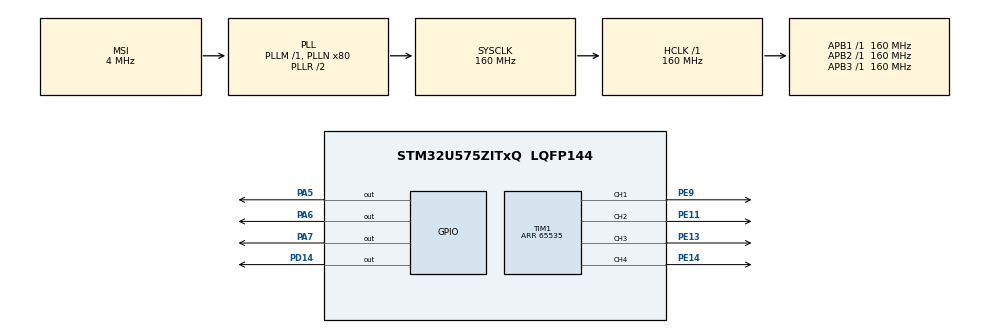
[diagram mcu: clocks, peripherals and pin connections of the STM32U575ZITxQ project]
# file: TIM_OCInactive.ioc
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CORTEX_M33_NS.userName=CORTEX_M33
Mcu.Family=STM32U5
Mcu.Name=STM32U575ZITxQ
Mcu.Package=LQFP144
NVIC.PriorityGroup=NVIC_PRIORITYGROUP_4
NVIC.TIM1_CC_IRQn=true\:0\:0\:false\:false\:true\:true\:true\:true
PA5.GPIO_PuPd=GPIO_NOPULL
PA5.GPIO_Speed=GPIO_SPEED_FREQ_HIGH
PA5.Signal=GPIO_Output
PA6.GPIO_PuPd=GPIO_NOPULL
PA6.GPIO_Speed=GPIO_SPEED_FREQ_HIGH
PA6.Signal=GPIO_Output
PA7.GPIO_PuPd=GPIO_NOPULL
PA7.GPIO_Speed=GPIO_SPEED_FREQ_HIGH
PA7.Signal=GPIO_Output
PD14.GPIO_PuPd=GPIO_NOPULL
PD14.GPIO_Speed=GPIO_SPEED_FREQ_HIGH
PD14.Signal=GPIO_Output
PE11.GPIO_PuPd=GPIO_NOPULL
PE11.GPIO_Speed=GPIO_SPEED_FREQ_VERY_HIGH
PE11.Signal=S_TIM1_CH2
PE13.GPIO_PuPd=GPIO_NOPULL
PE13.GPIO_Speed=GPIO_SPEED_FREQ_VERY_HIGH
PE13.Signal=S_TIM1_CH3
PE14.GPIO_PuPd=GPIO_NOPULL
PE14.GPIO_Speed=GPIO_SPEED_FREQ_VERY_HIGH
PE14.Signal=S_TIM1_CH4
PE9.GPIO_PuPd=GPIO_NOPULL
PE9.GPIO_Speed=GPIO_SPEED_FREQ_VERY_HIGH
PE9.Signal=S_TIM1_CH1
PWR.PowerMode=PWR_SMPS_SUPPLY
ProjectManager.HeapSize=0x200
ProjectManager.StackSize=0x400
ProjectManager.TargetToolchain=EWARM V8.32
RCC.ADCFreq_Value=16000000
RCC.AHBFreq_Value=160000000
RCC.APB1Freq_Value=160000000
RCC.APB1TimFreq_Value=160000000
RCC.APB2Freq_Value=160000000
RCC.APB2TimFreq_Value=160000000
RCC.APB3Freq_Value=160000000
RCC.CortexFreq_Value=160000000
RCC.DACCLockSelectionVirtual=RCC_DAC1CLKSOURCE_LSI
RCC.DACCLockSelectionVirtualString=RCC_DAC1CLKSOURCE_LSI
RCC.EPOD_VALUE=4000000
RCC.HCLKFreq_Value=160000000
RCC.HSE_VALUE=16000000
RCC.HSI48_VALUE=48000000
RCC.HSI_VALUE=16000000
RCC.LSE_VALUE=32768
RCC.LSIDIV_VALUE=32000
RCC.MSI_VALUE=4000000
RCC.PLLN=80
RCC.SYSCLKFreq_VALUE=160000000
RCC.SYSCLKSource=RCC_SYSCLKSOURCE_PLLCLK
RCC.USBFreq_Value=48000000
RCC.VCOOutputFreq_Value=320000000
SH.S_TIM1_CH1.0=TIM1_CH1,Output Compare1 CH1
SH.S_TIM1_CH2.0=TIM1_CH2,Output Compare2 CH2
SH.S_TIM1_CH3.0=TIM1_CH3,Output Compare3 CH3
SH.S_TIM1_CH4.0=TIM1_CH4,Output Compare4 CH4
TIM1.AutoReloadPreload=TIM_AUTORELOAD_PRELOAD_DISABLE
TIM1.AutomaticOutput=TIM_AUTOMATICOUTPUT_DISABLE
TIM1.Break2Filter=0
TIM1.Break2Polarity=TIM_BREAK2POLARITY_HIGH
TIM1.Break2State=TIM_BREAK2_DISABLE
TIM1.BreakFilter=0
TIM1.BreakPolarity=TIM_BREAKPOLARITY_HIGH
TIM1.BreakState=TIM_BREAK_DISABLE
TIM1.Channel-Output\ Compare1\ CH1=TIM_CHANNEL_1
TIM1.Channel-Output\ Compare2\ CH2=TIM_CHANNEL_2
TIM1.Channel-Output\ Compare3\ CH3=TIM_CHANNEL_3
TIM1.Channel-Output\ Compare4\ CH4=TIM_CHANNEL_4
TIM1.ClearInputSource=TIM_CLEARINPUTSOURCE_NONE
TIM1.ClockDivision=TIM_CLOCKDIVISION_DIV1
TIM1.CounterMode=TIM_COUNTERMODE_UP
TIM1.LockLevel=TIM_LOCKLEVEL_OFF
TIM1.OC1Preload=DISABLE
TIM1.OC2Preload=DISABLE
TIM1.OC3Preload=DISABLE
TIM1.OC4Preload=DISABLE
TIM1.OCIdleState_1=TIM_OCIDLESTATE_RESET
TIM1.OCIdleState_2=TIM_OCIDLESTATE_RESET
TIM1.OCIdleState_3=TIM_OCIDLESTATE_RESET
TIM1.OCIdleState_4=TIM_OCIDLESTATE_RESET
TIM1.OCMode_1=TIM_OCMODE_INACTIVE
TIM1.OCMode_2=TIM_OCMODE_INACTIVE
TIM1.OCMode_3=TIM_OCMODE_INACTIVE
TIM1.OCMode_4=TIM_OCMODE_INACTIVE
TIM1.OCPolarity_1=TIM_OCPOLARITY_HIGH
TIM1.OCPolarity_2=TIM_OCPOLARITY_HIGH
TIM1.OCPolarity_3=TIM_OCPOLARITY_HIGH
TIM1.OCPolarity_4=TIM_OCPOLARITY_HIGH
TIM1.OffStateIDLEMode=TIM_OSSI_DISABLE
TIM1.OffStateRunMode=TIM_OSSR_DISABLE
TIM1.Period=65535
TIM1.Prescaler=PRESCALER_VALUE
TIM1.PulseNoDither_1=PULSE1_VALUE
TIM1.PulseNoDither_2=PULSE2_VALUE
TIM1.PulseNoDither_3=PULSE3_VALUE
TIM1.PulseNoDither_4=PULSE4_VALUE
TIM1.RepetitionCounter=0
TIM1.SourceBRK2COMP1=TIM_BREAKINPUTSOURCE_DISABLE
TIM1.SourceBRK2COMP2=TIM_BREAKINPUTSOURCE_DISABLE
TIM1.SourceBRK2DigInput=TIM_BREAKINPUTSOURCE_DISABLE
TIM1.SourceBRKCOMP1=TIM_BREAKINPUTSOURCE_DISABLE
TIM1.SourceBRKCOMP2=TIM_BREAKINPUTSOURCE_DISABLE
TIM1.SourceBRKDigInput=TIM_BREAKINPUTSOURCE_DISABLE
TIM1.TIM_MasterOutputTrigger=TIM_TRGO_RESET
TIM1.TIM_MasterOutputTrigger2=TIM_TRGO2_RESET
TIM1.TIM_MasterSlaveMode=TIM_MASTERSLAVEMODE_DISABLE
VP_ICACHE_VS_ICACHE.Mode=DirectMappedCache
VP_LPBAMQUEUE_VS_QUEUE.Mode=QUEUEMODE
VP_LPBAM_VS_SIG1.Mode=SmartRun
VP_LPBAM_VS_SIG4.Mode=LPDMA1
VP_PWR_VS_DBSignals.Mode=DisableDeadBatterySignals
VP_PWR_VS_LPOM.Mode=PowerOptimisation
VP_PWR_VS_SECSignals.Mode=Security/Privilege
board=custom

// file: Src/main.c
/* USER CODE BEGIN Header */
/**
  ******************************************************************************
  * @file    TIM/TIM_OCInactive/Src/main.c
  * @author  MCD Application Team
  * @brief   This example shows how to configure the Timer to generate four
  *          delayed signals.
  ******************************************************************************
  * @attention
  *
  * Copyright (c) 2021 STMicroelectronics.
  * All rights reserved.
  *
  * This software is licensed under terms that can be found in the LICENSE file
  * in the root directory of this software component.
  * If no LICENSE file comes with this software, it is provided AS-IS.
  *
  ******************************************************************************
  */
/* USER CODE END Header */
#include "main.h"

TIM_HandleTypeDef htim1;

void SystemClock_Config(void);
static void SystemPower_Config(void);
static void MX_GPIO_Init(void);
static void MX_ICACHE_Init(void);
static void MX_TIM1_Init(void);

int main(void)
{

  /* USER CODE BEGIN 1 */
  /* STM32U5xx HAL library initialization:
       - Configure the Flash prefetch
       - Configure the Systick to generate an interrupt each 1 msec
       - Set NVIC Group Priority to 3
       - Low Level Initialization
     */
  /* USER CODE END 1 */

  /* MCU Configuration--------------------------------------------------------*/

  /* Reset of all peripherals, Initializes the Flash interface and the Systick. */
  HAL_Init();

  /* Configure the System Power */
  SystemPower_Config();

  /* Configure the system clock */
  SystemClock_Config();

  /* Initialize all configured peripherals */
  MX_GPIO_Init();
  MX_ICACHE_Init();
  MX_TIM1_Init();
  /* USER CODE BEGIN 2 */
  /*## Set GPIO Pins PA5, PA6, PA7 and PD14 as reference ###################*/
  HAL_GPIO_WritePin(GPIOA, GPIO_PIN_5, GPIO_PIN_SET);
  HAL_GPIO_WritePin(GPIOA, GPIO_PIN_6, GPIO_PIN_SET);
  HAL_GPIO_WritePin(GPIOA, GPIO_PIN_7, GPIO_PIN_SET);
  HAL_GPIO_WritePin(GPIOD, GPIO_PIN_14, GPIO_PIN_SET);

  /*## Start signals generation #######################################*/
  /* Start channel 1 in Output compare mode */
  if(HAL_TIM_OC_Start_IT(&htim1, TIM_CHANNEL_1) != HAL_OK)
  {
    /* Starting Error */
    Error_Handler();
  }
  /* Start channel 2 in Output compare mode */
  if(HAL_TIM_OC_Start_IT(&htim1, TIM_CHANNEL_2) != HAL_OK)
  {
    /* Starting Error */
    Error_Handler();
  }
  /* Start channel 3 in Output compare mode */
  if(HAL_TIM_OC_Start_IT(&htim1, TIM_CHANNEL_3) != HAL_OK)
  {
    /* Starting Error */
    Error_Handler();
  }
  /* Start channel 4 in Output compare mode */
  if(HAL_TIM_OC_Start_IT(&htim1, TIM_CHANNEL_4) != HAL_OK)
  {
    /* Starting Error */
    Error_Handler();
  }

  /* USER CODE END 2 */

  /* Infinite loop */
  while (1)
  {

  }
}

void SystemClock_Config(void)
{
  RCC_OscInitTypeDef RCC_OscInitStruct = {0};
  RCC_ClkInitTypeDef RCC_ClkInitStruct = {0};

  /** Configure the main internal regulator output voltage
  */
  if (HAL_PWREx_ControlVoltageScaling(PWR_REGULATOR_VOLTAGE_SCALE1) != HAL_OK)
  {
    Error_Handler();
  }

  /** Initializes the CPU, AHB and APB buses clocks
  */
  RCC_OscInitStruct.OscillatorType = RCC_OSCILLATORTYPE_MSI;
  RCC_OscInitStruct.MSIState = RCC_MSI_ON;
  RCC_OscInitStruct.MSICalibrationValue = RCC_MSICALIBRATION_DEFAULT;
  RCC_OscInitStruct.MSIClockRange = RCC_MSIRANGE_4;
  RCC_OscInitStruct.PLL.PLLState = RCC_PLL_ON;
  RCC_OscInitStruct.PLL.PLLSource = RCC_PLLSOURCE_MSI;
  RCC_OscInitStruct.PLL.PLLMBOOST = RCC_PLLMBOOST_DIV1;
  RCC_OscInitStruct.PLL.PLLM = 1;
  RCC_OscInitStruct.PLL.PLLN = 80;
  RCC_OscInitStruct.PLL.PLLP = 2;
  RCC_OscInitStruct.PLL.PLLQ = 2;
  RCC_OscInitStruct.PLL.PLLR = 2;
  RCC_OscInitStruct.PLL.PLLRGE = RCC_PLLVCIRANGE_0;
  RCC_OscInitStruct.PLL.PLLFRACN = 0;
  if (HAL_RCC_OscConfig(&RCC_OscInitStruct) != HAL_OK)
  {
    Error_Handler();
  }

  /** Initializes the CPU, AHB and APB buses clocks
  */
  RCC_ClkInitStruct.ClockType = RCC_CLOCKTYPE_HCLK|RCC_CLOCKTYPE_SYSCLK
                              |RCC_CLOCKTYPE_PCLK1|RCC_CLOCKTYPE_PCLK2
                              |RCC_CLOCKTYPE_PCLK3;
  RCC_ClkInitStruct.SYSCLKSource = RCC_SYSCLKSOURCE_PLLCLK;
  RCC_ClkInitStruct.AHBCLKDivider = RCC_SYSCLK_DIV1;
  RCC_ClkInitStruct.APB1CLKDivider = RCC_HCLK_DIV1;
  RCC_ClkInitStruct.APB2CLKDivider = RCC_HCLK_DIV1;
  RCC_ClkInitStruct.APB3CLKDivider = RCC_HCLK_DIV1;

  if (HAL_RCC_ClockConfig(&RCC_ClkInitStruct, FLASH_LATENCY_4) != HAL_OK)
  {
    Error_Handler();
  }
}

/**
  * @brief Power Configuration
  * @retval None
  */
static void SystemPower_Config(void)
{

  /*
   * Disable the internal Pull-Up in Dead Battery pins of UCPD peripheral
   */
  HAL_PWREx_DisableUCPDDeadBattery();

  /*
   * Switch to SMPS regulator instead of LDO
   */
  if (HAL_PWREx_ConfigSupply(PWR_SMPS_SUPPLY) != HAL_OK)
  {
    Error_Handler();
  }
}

static void MX_ICACHE_Init(void)
{

  /** Enable instruction cache in 1-way (direct mapped cache)
  */
  if (HAL_ICACHE_ConfigAssociativityMode(ICACHE_1WAY) != HAL_OK)
  {
    Error_Handler();
  }
  if (HAL_ICACHE_Enable() != HAL_OK)
  {
    Error_Handler();
  }

}

static void MX_TIM1_Init(void)
{

  TIM_MasterConfigTypeDef sMasterConfig = {0};
  TIM_OC_InitTypeDef sConfigOC = {0};
  TIM_BreakDeadTimeConfigTypeDef sBreakDeadTimeConfig = {0};

  htim1.Instance = TIM1;
  htim1.Init.Prescaler = PRESCALER_VALUE;
  htim1.Init.CounterMode = TIM_COUNTERMODE_UP;
  htim1.Init.Period = 65535;
  htim1.Init.ClockDivision = TIM_CLOCKDIVISION_DIV1;
  htim1.Init.RepetitionCounter = 0;
  htim1.Init.AutoReloadPreload = TIM_AUTORELOAD_PRELOAD_DISABLE;
  if (HAL_TIM_OC_Init(&htim1) != HAL_OK)
  {
    Error_Handler();
  }
  sMasterConfig.MasterOutputTrigger = TIM_TRGO_RESET;
  sMasterConfig.MasterOutputTrigger2 = TIM_TRGO2_RESET;
  sMasterConfig.MasterSlaveMode = TIM_MASTERSLAVEMODE_DISABLE;
  if (HAL_TIMEx_MasterConfigSynchronization(&htim1, &sMasterConfig) != HAL_OK)
  {
    Error_Handler();
  }
  sConfigOC.OCMode = TIM_OCMODE_INACTIVE;
  sConfigOC.Pulse = PULSE1_VALUE;
  sConfigOC.OCPolarity = TIM_OCPOLARITY_HIGH;
  sConfigOC.OCNPolarity = TIM_OCNPOLARITY_HIGH;
  sConfigOC.OCFastMode = TIM_OCFAST_DISABLE;
  sConfigOC.OCIdleState = TIM_OCIDLESTATE_RESET;
  sConfigOC.OCNIdleState = TIM_OCNIDLESTATE_RESET;
  if (HAL_TIM_OC_ConfigChannel(&htim1, &sConfigOC, TIM_CHANNEL_1) != HAL_OK)
  {
    Error_Handler();
  }
  sConfigOC.Pulse = PULSE2_VALUE;
  if (HAL_TIM_OC_ConfigChannel(&htim1, &sConfigOC, TIM_CHANNEL_2) != HAL_OK)
  {
    Error_Handler();
  }
  sConfigOC.Pulse = PULSE3_VALUE;
  if (HAL_TIM_OC_ConfigChannel(&htim1, &sConfigOC, TIM_CHANNEL_3) != HAL_OK)
  {
    Error_Handler();
  }
  sConfigOC.Pulse = PULSE4_VALUE;
  if (HAL_TIM_OC_ConfigChannel(&htim1, &sConfigOC, TIM_CHANNEL_4) != HAL_OK)
  {
    Error_Handler();
  }
  sBreakDeadTimeConfig.OffStateRunMode = TIM_OSSR_DISABLE;
  sBreakDeadTimeConfig.OffStateIDLEMode = TIM_OSSI_DISABLE;
  sBreakDeadTimeConfig.LockLevel = TIM_LOCKLEVEL_OFF;
  sBreakDeadTimeConfig.DeadTime = 0;
  sBreakDeadTimeConfig.BreakState = TIM_BREAK_DISABLE;
  sBreakDeadTimeConfig.BreakPolarity = TIM_BREAKPOLARITY_HIGH;
  sBreakDeadTimeConfig.BreakFilter = 0;
  sBreakDeadTimeConfig.BreakAFMode = TIM_BREAK_AFMODE_INPUT;
  sBreakDeadTimeConfig.Break2State = TIM_BREAK2_DISABLE;
  sBreakDeadTimeConfig.Break2Polarity = TIM_BREAK2POLARITY_HIGH;
  sBreakDeadTimeConfig.Break2Filter = 0;
  sBreakDeadTimeConfig.Break2AFMode = TIM_BREAK_AFMODE_INPUT;
  sBreakDeadTimeConfig.AutomaticOutput = TIM_AUTOMATICOUTPUT_DISABLE;
  if (HAL_TIMEx_ConfigBreakDeadTime(&htim1, &sBreakDeadTimeConfig) != HAL_OK)
  {
    Error_Handler();
  }
  HAL_TIM_MspPostInit(&htim1);

}

static void MX_GPIO_Init(void)
{
  GPIO_InitTypeDef GPIO_InitStruct = {0};

  /* GPIO Ports Clock Enable */
  __HAL_RCC_GPIOA_CLK_ENABLE();
  __HAL_RCC_GPIOE_CLK_ENABLE();
  __HAL_RCC_GPIOD_CLK_ENABLE();

  /*Configure GPIO pin Output Level */
  HAL_GPIO_WritePin(GPIOA, GPIO_PIN_5|GPIO_PIN_6|GPIO_PIN_7, GPIO_PIN_RESET);

  /*Configure GPIO pin Output Level */
  HAL_GPIO_WritePin(GPIOD, GPIO_PIN_14, GPIO_PIN_RESET);

  /*Configure GPIO pins : PA5 PA6 PA7 */
  GPIO_InitStruct.Pin = GPIO_PIN_5|GPIO_PIN_6|GPIO_PIN_7;
  GPIO_InitStruct.Mode = GPIO_MODE_OUTPUT_PP;
  GPIO_InitStruct.Pull = GPIO_NOPULL;
  GPIO_InitStruct.Speed = GPIO_SPEED_FREQ_HIGH;
  HAL_GPIO_Init(GPIOA, &GPIO_InitStruct);

  /*Configure GPIO pin : PD14 */
  GPIO_InitStruct.Pin = GPIO_PIN_14;
  GPIO_InitStruct.Mode = GPIO_MODE_OUTPUT_PP;
  GPIO_InitStruct.Pull = GPIO_NOPULL;
  GPIO_InitStruct.Speed = GPIO_SPEED_FREQ_HIGH;
  HAL_GPIO_Init(GPIOD, &GPIO_InitStruct);

}

/* USER CODE BEGIN 4 */
/**
  * @brief  Output Compare callback in non blocking mode
  * @param  htim : TIM OC handle
  * @retval None
  */
void HAL_TIM_OC_DelayElapsedCallback(TIM_HandleTypeDef *htim)
{
  if(htim->Channel == HAL_TIM_ACTIVE_CHANNEL_1)
  {
    /* Reset GPIO Pin PA5 after 1s */
    HAL_GPIO_WritePin(GPIOA, GPIO_PIN_5, GPIO_PIN_RESET);
  }
  else if(htim->Channel == HAL_TIM_ACTIVE_CHANNEL_2)
  {
    /* Reset GPIO Pin PA6 after 500ms */
    HAL_GPIO_WritePin(GPIOA, GPIO_PIN_6, GPIO_PIN_RESET);
  }
  else if(htim->Channel == HAL_TIM_ACTIVE_CHANNEL_3)
  {
    /* Reset GPIO Pin PA7 after 250ms */
    HAL_GPIO_WritePin(GPIOA, GPIO_PIN_7, GPIO_PIN_RESET);
  }
  else
  {
    /* Reset GPIO Pin PD14 after 125ms */
    HAL_GPIO_WritePin(GPIOD, GPIO_PIN_14, GPIO_PIN_RESET);
  }
}

/* USER CODE END 4 */

void Error_Handler(void)
{
  while(1)
  {
  }
}
